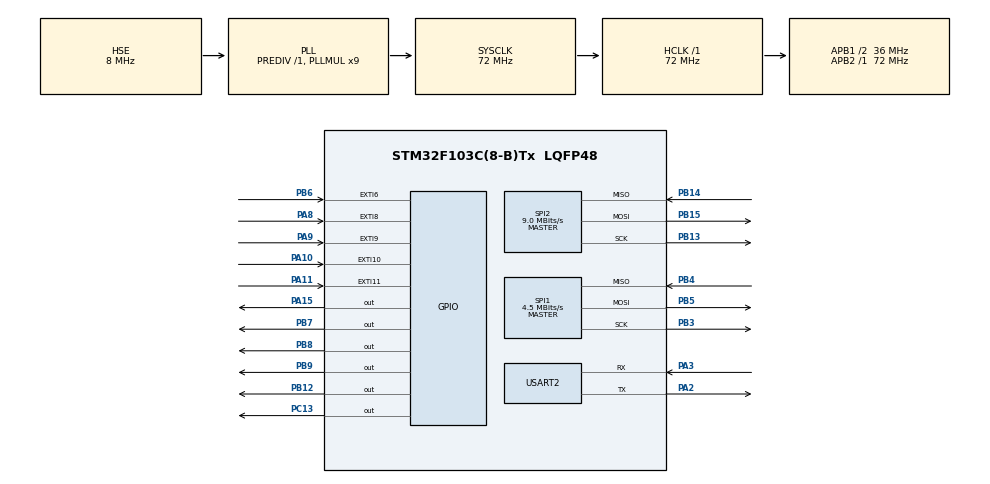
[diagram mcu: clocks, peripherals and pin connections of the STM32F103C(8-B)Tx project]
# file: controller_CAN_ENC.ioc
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Mcu.Family=STM32F1
Mcu.Name=STM32F103C(8-B)Tx
Mcu.Package=LQFP48
NVIC.EXTI15_10_IRQn=true\:0\:0\:false\:false\:true\:true\:true\:true
NVIC.EXTI9_5_IRQn=true\:0\:0\:false\:false\:true\:true\:true\:true
NVIC.PriorityGroup=NVIC_PRIORITYGROUP_4
PA10.GPIO_ModeDefaultEXTI=GPIO_MODE_IT_FALLING
PA10.Signal=GPXTI10
PA11.GPIO_ModeDefaultEXTI=GPIO_MODE_IT_FALLING
PA11.Signal=GPXTI11
PA15.Signal=GPIO_Output
PA2.Mode=Asynchronous
PA2.Signal=USART2_TX
PA3.Mode=Asynchronous
PA3.Signal=USART2_RX
PA8.GPIO_ModeDefaultEXTI=GPIO_MODE_IT_FALLING
PA8.Signal=GPXTI8
PA9.GPIO_ModeDefaultEXTI=GPIO_MODE_IT_FALLING
PA9.Signal=GPXTI9
PB12.PinState=GPIO_PIN_SET
PB12.Signal=GPIO_Output
PB13.Mode=Full_Duplex_Master
PB13.Signal=SPI2_SCK
PB14.Mode=Full_Duplex_Master
PB14.Signal=SPI2_MISO
PB15.Mode=Full_Duplex_Master
PB15.Signal=SPI2_MOSI
PB3.Mode=Full_Duplex_Master
PB3.Signal=SPI1_SCK
PB4.Mode=Full_Duplex_Master
PB4.Signal=SPI1_MISO
PB5.Mode=Full_Duplex_Master
PB5.Signal=SPI1_MOSI
PB6.GPIO_ModeDefaultEXTI=GPIO_MODE_IT_FALLING
PB6.Signal=GPXTI6
PB7.GPIO_ModeDefaultOutputPP=GPIO_MODE_OUTPUT_PP
PB7.GPIO_PuPd=GPIO_NOPULL
PB7.PinState=GPIO_PIN_SET
PB7.Signal=GPIO_Output
PB8.GPIO_ModeDefaultOutputPP=GPIO_MODE_OUTPUT_PP
PB8.GPIO_PuPd=GPIO_NOPULL
PB8.PinState=GPIO_PIN_SET
PB8.Signal=GPIO_Output
PB9.GPIO_ModeDefaultOutputPP=GPIO_MODE_OUTPUT_PP
PB9.GPIO_PuPd=GPIO_NOPULL
PB9.PinState=GPIO_PIN_SET
PB9.Signal=GPIO_Output
PC13-TAMPER-RTC.PinState=GPIO_PIN_SET
PC13-TAMPER-RTC.Signal=GPIO_Output
PD0-OSC_IN.Mode=HSE-External-Oscillator
PD0-OSC_IN.Signal=RCC_OSC_IN
PD1-OSC_OUT.Mode=HSE-External-Oscillator
PD1-OSC_OUT.Signal=RCC_OSC_OUT
ProjectManager.HeapSize=0x200
ProjectManager.StackSize=0x400
ProjectManager.TargetToolchain=STM32CubeIDE
RCC.AHBFreq_Value=72000000
RCC.APB1CLKDivider=RCC_HCLK_DIV2
RCC.APB1Freq_Value=36000000
RCC.APB1TimFreq_Value=72000000
RCC.APB2Freq_Value=72000000
RCC.APB2TimFreq_Value=72000000
RCC.HCLKFreq_Value=72000000
RCC.PLLMUL=RCC_PLL_MUL9
RCC.PLLSourceVirtual=RCC_PLLSOURCE_HSE
RCC.SYSCLKFreq_VALUE=72000000
RCC.SYSCLKSource=RCC_SYSCLKSOURCE_PLLCLK
RCC.USBFreq_Value=72000000
SPI1.BaudRatePrescaler=SPI_BAUDRATEPRESCALER_16
SPI1.CalculateBaudRate=4.5 MBits/s
SPI1.Direction=SPI_DIRECTION_2LINES
SPI1.Mode=SPI_MODE_MASTER
SPI1.VirtualType=VM_MASTER
SPI2.BaudRatePrescaler=SPI_BAUDRATEPRESCALER_4
SPI2.CalculateBaudRate=9.0 MBits/s
SPI2.Direction=SPI_DIRECTION_2LINES
SPI2.Mode=SPI_MODE_MASTER
SPI2.VirtualType=VM_MASTER
USART2.VirtualMode=VM_ASYNC
VP_SYS_VS_ND.Mode=No_Debug
board=custom

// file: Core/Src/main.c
/* USER CODE BEGIN Header */
/**
  ******************************************************************************
  * @file           : main.c
  * @brief          : Main program body
  ******************************************************************************
  * @attention
  *
  * Copyright (c) 2026 STMicroelectronics.
  * All rights reserved.
  *
  * This software is licensed under terms that can be found in the LICENSE file
  * in the root directory of this software component.
  * If no LICENSE file comes with this software, it is provided AS-IS.
  *
  ******************************************************************************
  */
/* USER CODE END Header */
#include "main.h"

/* USER CODE BEGIN Includes */
#include "stdlib.h"
#include "stdbool.h"
#include "enc28j60.h"
#include "mcp2515.h"
/* USER CODE END Includes */

SPI_HandleTypeDef hspi1;
SPI_HandleTypeDef hspi2;

UART_HandleTypeDef huart2;

void SystemClock_Config(void);
static void MX_GPIO_Init(void);
static void MX_SPI1_Init(void);
static void MX_SPI2_Init(void);
static void MX_USART2_UART_Init(void);

/* USER CODE BEGIN 0 */

#define MCP_CMD_CONNECT			0
#define MCP_CMD_DRIVE			1
#define MCP_CMD_IN_PING			2
#define MCP_CMD_OUT_PING		3
#define MCP_CMD_DATA			4
uint8_t txData[14] = {0x01, 0x00};
uint8_t rxData[14];
mcp_def mcp = {spi: &hspi1, port: GPIOA, pin: GPIO_PIN_15};
uint8_t is_rxd = 0;
uint8_t is_send = 0;
uint8_t is_next = 0;
uint8_t is_enc_rx= 0;
struct ID {
    uint8_t id;
    bool ping;
    bool drive;
    struct ID *next;
};
uint8_t amount_id = 0;
struct ID *current_ID, *current_order_ID;

void EXTI9_5_IRQHandler(void) {
	if(EXTI->PR & (0x01<<6)) {
		is_rxd = 1;
		EXTI->PR |= (0x01<<6);
	}
	if(EXTI->PR & (0x01<<8)) {
		is_enc_rx = 1;
		EXTI->PR |= (0x01<<8);
		HAL_GPIO_TogglePin(GPIOB, GPIO_PIN_9);
	}
	if(EXTI->PR & (0x01<<9)) {
		is_send = 1;
		EXTI->PR |= (0x01<<9);
	}
}

void EXTI15_10_IRQHandler(void) {
	if(EXTI->PR & (0x01<<10)) {
		is_next = 1;
		EXTI->PR |= (0x01<<10);
	}
	if(EXTI->PR & (0x01<<11)) {
		is_send = 1;
		EXTI->PR |= (0x01<<11);
	}
}

struct ID *createID(int value) {
    struct ID *newID = (struct ID*)malloc(sizeof(struct ID));
    newID->id = value;
    newID->next = NULL;
    newID->ping = 0;
    newID->drive = 0;
    return newID;
}

void insertID(struct ID *List_ID, int value) {
	if(value == 0 || List_ID == NULL) return;
    struct ID *current = List_ID;

    while(current->next != NULL) {
        current = current->next;
    	if(current->id == value) return;
    }
    amount_id += 1;
    struct ID *newID = createID(value);
    current->next = newID;
}

struct ID *getIDbyIndex(struct ID *List_ID, int index) {
	if(index == 0 || List_ID == NULL) return List_ID;
	int i=0;
    struct ID *current = List_ID;

	while(i != index) {
        if(current->next == NULL) return List_ID;
		current = current->next;
        i += 1;
    }
	return current;
}

void deleteByValue(struct ID *List_ID, int value) {
    if(List_ID == NULL || value == 0) return;
    struct ID *current = List_ID;
    struct ID *prev = NULL;

	while (current != NULL && current->id != value) {
        prev = current;
        current = current->next;
    }

    if (current == NULL) return;
    prev->next = current->next;
    free(current);
    amount_id -= 1;
}

/* USER CODE END 0 */

int main(void)
{

  /* MCU Configuration--------------------------------------------------------*/

  /* Reset of all peripherals, Initializes the Flash interface and the Systick. */
  HAL_Init();

  /* Configure the system clock */
  SystemClock_Config();

  /* Initialize all configured peripherals */
  MX_GPIO_Init();
  MX_SPI1_Init();
  MX_SPI2_Init();
  MX_USART2_UART_Init();

  /* Infinite loop */
  /* USER CODE BEGIN WHILE */
  uint8_t data[8] = {
	  MCP_CMD_CONNECT,
	  MCP_CMD_DRIVE,
	  MCP_CMD_IN_PING,
	  MCP_CMD_OUT_PING,
	  MCP_CMD_DATA
  };

  mcp_activate_rx(&mcp);

  struct ID *initID = createID(0);
  struct ID *List_ID = initID;
  current_order_ID = List_ID;
  current_ID = List_ID;
  uint8_t count_time=0, counter = 0;
//  uint8_t byte=0;
  enc_def enc = {&hspi2, GPIOB, GPIO_PIN_12};
  enc_init(enc);
  uint8_t dummy_cnt = 0;
  enc_clear_bits(enc, ECON1, 0x03);
  enc_set_bits(enc, ECON1, 0x01);
  enc_read_byte(enc, EPKTCNT, &dummy_cnt);
  while(dummy_cnt > 0) {
      enc_set_bits(enc, ECON2, 0x40);
      enc_read_byte(enc, EPKTCNT, &dummy_cnt);
  }
  uint8_t buffer[64];
  uint8_t next_byte_low = 0x00, next_byte_high = 0x0C;
  while(1) {
	  HAL_Delay(50);

	  if (is_enc_rx) {
	      is_enc_rx = 0;

	      uint8_t eir;
	      uint8_t header[6];
	      uint16_t nextPacket;
	      uint16_t length;
	      uint16_t status;
	      uint16_t erxrdpt;

	      enc_read_byte(enc, EIR, &eir);
	      if (eir & 0x40) {
//	          enc_clear_bits(enc, ECON1, 0x03);
//	    	  enc_set_bits(enc, ECON1, 0x01);
//	          enc_read_byte(enc, EPKTCNT, &dummy_cnt);
//	    	  HAL_UART_Transmit(&huart2, &dummy_cnt, 1, 100);

	    	  enc_clear_bits(enc, ECON1, 0x03);
	          enc_write_byte(enc, ERDPTL, next_byte_low);
	          enc_write_byte(enc, ERDPTH, next_byte_high);

	          enc_read_buffer(enc, header, 6);

	          nextPacket = header[0] | (header[1] << 8);
	          length     = header[2] | (header[3] << 8);
	          status     = header[4] | (header[5] << 8);

	          next_byte_low  = header[0];
	          next_byte_high = header[1];

//			  HAL_UART_Transmit(&huart2, header, 6, 100);
	          if (status & 0x80) {
	              if (length > sizeof(buffer)) length = sizeof(buffer);
	              enc_read_buffer(enc, buffer, length);
				  if (buffer[12] == 0x08 && buffer[13] == 0x06) {
					  HAL_UART_Transmit(&huart2, &buffer[14], length-14, 100);
			  		  mcp_set_ID_standard(&mcp, buffer[14], 0x07);
					  if(buffer[15] == 1) mcp_send(&mcp, &data[MCP_CMD_DRIVE], 1);
					  else if(buffer[15] == 2) mcp_send(&mcp, &data[MCP_CMD_IN_PING], 1);

					  HAL_Delay(20);
				  }
	          }

	          if (nextPacket <= 0x0C00) erxrdpt = 0x1FFF;
	          else erxrdpt = nextPacket - 1;

	          enc_write_byte(enc, ERXRDPTL, erxrdpt & 0xFF);
	          enc_write_byte(enc, ERXRDPTH, erxrdpt >> 8);

	          enc_set_bits(enc, ECON2, 0x40);
	      }
		  enc_clear_bits(enc, EIR, 0x41);
		  enc_clear_bits(enc, ESTAT, 0x40);
	  }

	  if(is_next == 1) {
		  if(current_ID->id != 0) {
			  mcp_set_ID_standard(&mcp, current_ID->id, 0x07);
			  mcp_send(&mcp, &data[MCP_CMD_OUT_PING], 1);
			  HAL_Delay(50);
		  }
		  current_ID = current_ID->next;
		  if(current_ID != NULL) {
			  mcp_set_ID_standard(&mcp, current_ID->id, 0x07);
			  mcp_send(&mcp, &data[MCP_CMD_IN_PING], 1);
			  HAL_Delay(50);
		  } else current_ID = List_ID;
		  is_next = 0;
	  }
	  if(is_send == 1) {
		  mcp_set_ID_standard(&mcp, current_ID->id, 0x07);
		  mcp_send(&mcp, &data[MCP_CMD_DRIVE], 1);
		  HAL_Delay(20);
		  is_send = 0;
	  }
	  if(count_time++ >= 40) {
		  current_order_ID = current_order_ID->next;
		  if(current_order_ID == NULL) {
			  current_order_ID = List_ID;
			  count_time = 0;
		  }
		  if(current_order_ID->id != 0x00) {
			  mcp_set_ID_standard(&mcp, current_order_ID->id, 0x07);
			  mcp_send(&mcp, &data[MCP_CMD_DATA], 1);
			  counter = 0;
			  while(counter++ < 50 && is_rxd == 0) HAL_Delay(10);
			  if(is_rxd == 0) deleteByValue(List_ID, current_order_ID->id);
		  }
	  }

	  if(is_rxd == 0) continue;
	  is_rxd = 0;
	  mcp_bit_modify(&mcp, CANINTF, 0xFF, 0x00);
	  mcp_read_buffer(&mcp, 0x00, rxData);
	  if(rxData[5] == MCP_CMD_CONNECT) {
		  insertID(List_ID, rxData[0]);
		  mcp_set_ID_standard(&mcp, rxData[0], 0x07);
		  mcp_send(&mcp, &data[MCP_CMD_CONNECT], 1);
	  } else if(rxData[5] == MCP_CMD_DATA) {
//		  HAL_UART_Transmit(&huart2, rxData, 13, 100);
		  txData[0] = rxData[0];
		  txData[1] = rxData[6];
		  txData[2] = rxData[7];
		  if(txData[0] != 0) enc_transmit(enc, txData, 3);
		  HAL_Delay(10);
	  }

//	  mcp_read_byte(&mcp, CANINTF, &byte);
//	  HAL_UART_Transmit(&huart1, &byte, 1, 100);
//	  mcp_read_byte(&mcp, EFLG, &byte);
//	  HAL_UART_Transmit(&huart1, &byte, 1, 100);
//	  HAL_UART_Transmit(&huart1, rxData, 13, 100);
  }
    /* USER CODE END WHILE */

}

void SystemClock_Config(void)
{
  RCC_OscInitTypeDef RCC_OscInitStruct = {0};
  RCC_ClkInitTypeDef RCC_ClkInitStruct = {0};

  /** Initializes the RCC Oscillators according to the specified parameters
  * in the RCC_OscInitTypeDef structure.
  */
  RCC_OscInitStruct.OscillatorType = RCC_OSCILLATORTYPE_HSE;
  RCC_OscInitStruct.HSEState = RCC_HSE_ON;
  RCC_OscInitStruct.HSEPredivValue = RCC_HSE_PREDIV_DIV1;
  RCC_OscInitStruct.HSIState = RCC_HSI_ON;
  RCC_OscInitStruct.PLL.PLLState = RCC_PLL_ON;
  RCC_OscInitStruct.PLL.PLLSource = RCC_PLLSOURCE_HSE;
  RCC_OscInitStruct.PLL.PLLMUL = RCC_PLL_MUL9;
  if (HAL_RCC_OscConfig(&RCC_OscInitStruct) != HAL_OK)
  {
    Error_Handler();
  }

  /** Initializes the CPU, AHB and APB buses clocks
  */
  RCC_ClkInitStruct.ClockType = RCC_CLOCKTYPE_HCLK|RCC_CLOCKTYPE_SYSCLK
                              |RCC_CLOCKTYPE_PCLK1|RCC_CLOCKTYPE_PCLK2;
  RCC_ClkInitStruct.SYSCLKSource = RCC_SYSCLKSOURCE_PLLCLK;
  RCC_ClkInitStruct.AHBCLKDivider = RCC_SYSCLK_DIV1;
  RCC_ClkInitStruct.APB1CLKDivider = RCC_HCLK_DIV2;
  RCC_ClkInitStruct.APB2CLKDivider = RCC_HCLK_DIV1;

  if (HAL_RCC_ClockConfig(&RCC_ClkInitStruct, FLASH_LATENCY_2) != HAL_OK)
  {
    Error_Handler();
  }
}

static void MX_SPI1_Init(void)
{

  /* SPI1 parameter configuration*/
  hspi1.Instance = SPI1;
  hspi1.Init.Mode = SPI_MODE_MASTER;
  hspi1.Init.Direction = SPI_DIRECTION_2LINES;
  hspi1.Init.DataSize = SPI_DATASIZE_8BIT;
  hspi1.Init.CLKPolarity = SPI_POLARITY_LOW;
  hspi1.Init.CLKPhase = SPI_PHASE_1EDGE;
  hspi1.Init.NSS = SPI_NSS_SOFT;
  hspi1.Init.BaudRatePrescaler = SPI_BAUDRATEPRESCALER_16;
  hspi1.Init.FirstBit = SPI_FIRSTBIT_MSB;
  hspi1.Init.TIMode = SPI_TIMODE_DISABLE;
  hspi1.Init.CRCCalculation = SPI_CRCCALCULATION_DISABLE;
  hspi1.Init.CRCPolynomial = 10;
  if (HAL_SPI_Init(&hspi1) != HAL_OK)
  {
    Error_Handler();
  }

}

static void MX_SPI2_Init(void)
{

  /* SPI2 parameter configuration*/
  hspi2.Instance = SPI2;
  hspi2.Init.Mode = SPI_MODE_MASTER;
  hspi2.Init.Direction = SPI_DIRECTION_2LINES;
  hspi2.Init.DataSize = SPI_DATASIZE_8BIT;
  hspi2.Init.CLKPolarity = SPI_POLARITY_LOW;
  hspi2.Init.CLKPhase = SPI_PHASE_1EDGE;
  hspi2.Init.NSS = SPI_NSS_SOFT;
  hspi2.Init.BaudRatePrescaler = SPI_BAUDRATEPRESCALER_4;
  hspi2.Init.FirstBit = SPI_FIRSTBIT_MSB;
  hspi2.Init.TIMode = SPI_TIMODE_DISABLE;
  hspi2.Init.CRCCalculation = SPI_CRCCALCULATION_DISABLE;
  hspi2.Init.CRCPolynomial = 10;
  if (HAL_SPI_Init(&hspi2) != HAL_OK)
  {
    Error_Handler();
  }

}

static void MX_USART2_UART_Init(void)
{

  huart2.Instance = USART2;
  huart2.Init.BaudRate = 115200;
  huart2.Init.WordLength = UART_WORDLENGTH_8B;
  huart2.Init.StopBits = UART_STOPBITS_1;
  huart2.Init.Parity = UART_PARITY_NONE;
  huart2.Init.Mode = UART_MODE_TX_RX;
  huart2.Init.HwFlowCtl = UART_HWCONTROL_NONE;
  huart2.Init.OverSampling = UART_OVERSAMPLING_16;
  if (HAL_UART_Init(&huart2) != HAL_OK)
  {
    Error_Handler();
  }

}

static void MX_GPIO_Init(void)
{
  GPIO_InitTypeDef GPIO_InitStruct = {0};

  /* GPIO Ports Clock Enable */
  __HAL_RCC_GPIOC_CLK_ENABLE();
  __HAL_RCC_GPIOD_CLK_ENABLE();
  __HAL_RCC_GPIOA_CLK_ENABLE();
  __HAL_RCC_GPIOB_CLK_ENABLE();

  /*Configure GPIO pin Output Level */
  HAL_GPIO_WritePin(GPIOC, GPIO_PIN_13, GPIO_PIN_SET);

  /*Configure GPIO pin Output Level */
  HAL_GPIO_WritePin(GPIOB, GPIO_PIN_12|GPIO_PIN_7|GPIO_PIN_8|GPIO_PIN_9, GPIO_PIN_SET);

  /*Configure GPIO pin Output Level */
  HAL_GPIO_WritePin(GPIOA, GPIO_PIN_15, GPIO_PIN_RESET);

  /*Configure GPIO pin : PC13 */
  GPIO_InitStruct.Pin = GPIO_PIN_13;
  GPIO_InitStruct.Mode = GPIO_MODE_OUTPUT_PP;
  GPIO_InitStruct.Pull = GPIO_NOPULL;
  GPIO_InitStruct.Speed = GPIO_SPEED_FREQ_LOW;
  HAL_GPIO_Init(GPIOC, &GPIO_InitStruct);

  /*Configure GPIO pins : PB12 PB7 PB8 PB9 */
  GPIO_InitStruct.Pin = GPIO_PIN_12|GPIO_PIN_7|GPIO_PIN_8|GPIO_PIN_9;
  GPIO_InitStruct.Mode = GPIO_MODE_OUTPUT_PP;
  GPIO_InitStruct.Pull = GPIO_NOPULL;
  GPIO_InitStruct.Speed = GPIO_SPEED_FREQ_LOW;
  HAL_GPIO_Init(GPIOB, &GPIO_InitStruct);

  /*Configure GPIO pins : PA8 PA9 PA10 PA11 */
  GPIO_InitStruct.Pin = GPIO_PIN_8|GPIO_PIN_9|GPIO_PIN_10|GPIO_PIN_11;
  GPIO_InitStruct.Mode = GPIO_MODE_IT_FALLING;
  GPIO_InitStruct.Pull = GPIO_NOPULL;
  HAL_GPIO_Init(GPIOA, &GPIO_InitStruct);

  /*Configure GPIO pin : PA15 */
  GPIO_InitStruct.Pin = GPIO_PIN_15;
  GPIO_InitStruct.Mode = GPIO_MODE_OUTPUT_PP;
  GPIO_InitStruct.Pull = GPIO_NOPULL;
  GPIO_InitStruct.Speed = GPIO_SPEED_FREQ_LOW;
  HAL_GPIO_Init(GPIOA, &GPIO_InitStruct);

  /*Configure GPIO pin : PB6 */
  GPIO_InitStruct.Pin = GPIO_PIN_6;
  GPIO_InitStruct.Mode = GPIO_MODE_IT_FALLING;
  GPIO_InitStruct.Pull = GPIO_NOPULL;
  HAL_GPIO_Init(GPIOB, &GPIO_InitStruct);

  /* EXTI interrupt init*/
  HAL_NVIC_SetPriority(EXTI9_5_IRQn, 0, 0);
  HAL_NVIC_EnableIRQ(EXTI9_5_IRQn);

  HAL_NVIC_SetPriority(EXTI15_10_IRQn, 0, 0);
  HAL_NVIC_EnableIRQ(EXTI15_10_IRQn);

}

void Error_Handler(void)
{
  __disable_irq();
  while (1)
  {
  }
}
